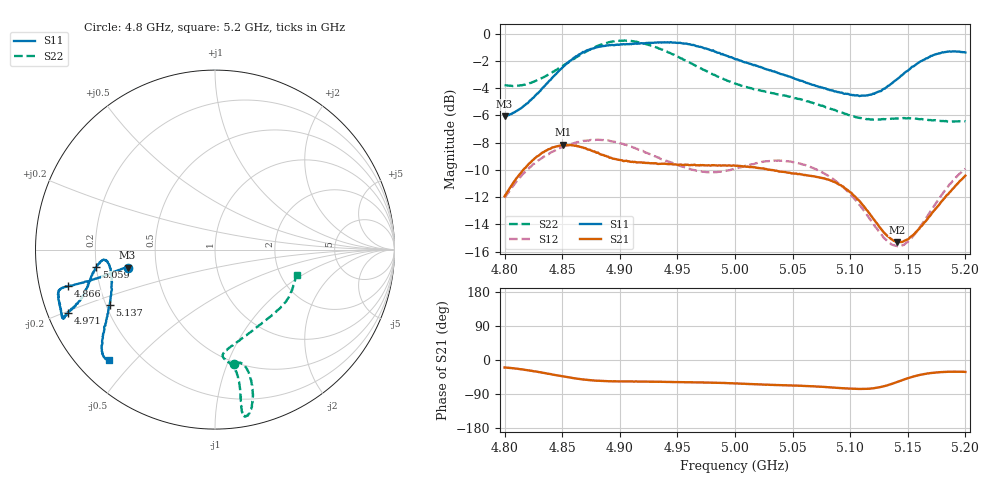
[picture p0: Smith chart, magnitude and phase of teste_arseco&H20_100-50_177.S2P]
! Network Analyzer HP8722D
! Hewlett-Packard
! Data name: Linha & Wilkinson
! Saver's name: Rodrigo Anjos
! Comments: Teste da utilização de aquisição
! continua pelo VNA HP8722D
! Time and date: 6/5/2025 14:02
!  Frequency  S11  S21  S12  S22
# HZ  S  MA R 50
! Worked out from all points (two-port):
!   401 points, 4.8 GHz to 5.2 GHz, reference 50 ohm
!   highest |S21| = -8.15 dB at 4.851 GHz (marker M1); lowest = -15.3 dB at 5.141 GHz (marker M2)
!   |S21| within 3 dB of the highest: 4.806 GHz to 5.092 GHz (286.3 MHz wide, 5.78 % of centre); 5.191613 GHz to end of sweep
!   lowest |S11| = -6.1 dB at 4.8 GHz (marker M3), VSWR 2.98, Z = 16.9 - j4.55 ohm
!   |S11| at or under -10 dB: nowhere
!   |S22| runs from -6.5 to -0.5 dB; largest |S21 - S12| = 0.62
!   S11 on the Smith chart (normalised r, x): 4.8 GHz: 0.34, -0.09; 4.866 GHz: 0.09, -0.12; 4.971 GHz: 0.06, -0.21; 5.059 GHz: 0.20, -0.07; 5.137 GHz: 0.21, -0.24; 5.2 GHz: 0.09, -0.42
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4.8e9  0.4977 -168.3  0.253 -19.8  0.2495 -141.0  0.6475 -80.4
4.823e9  0.5715 -167.6  0.3383 -28.4  0.3255 -143.9  0.6602 -76.0
4.851e9  0.7573 -166.0  0.3912 -43.6  0.3844 -149.5  0.765 -74.6
4.866e9  0.8445 -166.0  0.3839 -50.7  0.402 -152.0  0.8374 -75.4
4.867e9  0.8492 -165.9  0.3832 -51.0  0.4025 -152.2  0.8436 -75.4
4.898e9  0.9129 -163.2  0.3448 -56.3  0.3978 -156.6  0.9426 -78.9
4.913e9  0.9199 -160.0  0.3384 -56.7  0.3808 -157.1  0.9359 -80.3
4.934e9  0.9281 -156.5  0.3327 -57.6  0.351 -155.7  0.8817 -80.5
4.971e9  0.8925 -156.6  0.3287 -59.4  0.3119 -146.6  0.7444 -79.7
5e9  0.807 -159.2  0.3279 -61.9  0.3194 -137.3  0.6567 -81.3
5.036e9  0.722 -165.9  0.3141 -66.1  0.342 -134.5  0.6004 -85.7
5.059e9  0.6689 -171.6  0.3035 -68.3  0.3309 -136.2  0.5709 -84.4
5.067e9  0.6496 -173.1  0.3002 -69.2  0.3221 -136.9  0.5581 -82.7
5.083e9  0.6206 -174.7  0.289 -72.4  0.2969 -138.4  0.53 -76.7
5.103e9  0.5957 -171.5  0.2545 -76.1  0.2494 -138.8  0.4976 -65.2
5.116e9  0.5956 -165.5  0.2207 -75.9  0.2119 -135.5  0.4861 -55.7
5.134e9  0.6465 -154.4  0.1786 -65.1  0.1704 -120.7  0.4865 -43.2
5.137e9  0.6623 -152.3  0.1744 -62.1  0.1676 -116.6  0.4881 -41.5
5.141e9  0.6823 -150.4  0.1714 -57.6  0.1658 -111.6  0.4886 -39.1
5.153e9  0.7518 -145.2  0.18 -45.3  0.177 -96.2  0.4889 -32.9
5.173e9  0.8372 -139.0  0.2245 -33.3  0.2337 -80.9  0.4816 -24.2
5.2e9  0.8541 -133.8  0.3011 -31.5  0.3193 -77.1  0.4767 -17.5
